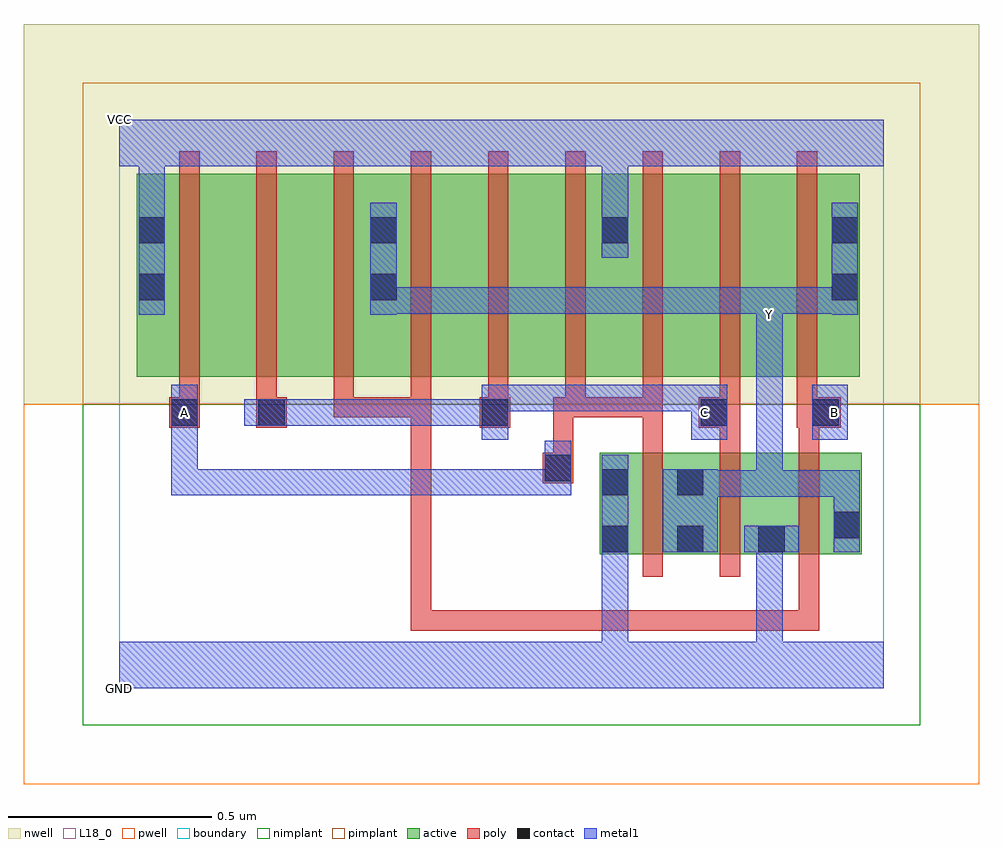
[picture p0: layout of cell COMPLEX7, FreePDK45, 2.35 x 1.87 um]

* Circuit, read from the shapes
.subckt COMPLEX7 A B C GND VCC Y
M1 Y A GND VSUBS nfet w=0.25u l=0.05u
M2 GND C Y VSUBS nfet w=0.25u l=0.05u
M3 Y B GND VSUBS nfet w=0.25u l=0.05u
M4 n1 A VCC n2 pfet w=0.5u l=0.05u
M5 n3 C n1 n2 pfet w=0.5u l=0.05u
M6 Y B n3 n2 pfet w=0.5u l=0.05u
M7 n4 B Y n2 pfet w=0.5u l=0.05u
M8 n5 C n4 n2 pfet w=0.5u l=0.05u
M9 VCC A n5 n2 pfet w=0.5u l=0.05u
M10 n6 A VCC n2 pfet w=0.5u l=0.05u
M11 n7 C n6 n2 pfet w=0.5u l=0.05u
M12 Y B n7 n2 pfet w=0.5u l=0.05u
.ends

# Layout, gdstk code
import gdstk
lib = gdstk.Library(unit=1e-6, precision=1e-09)
def R(c, l, rs):  # rectangles x0, y0, x1, y1
    for r in rs: c.add(gdstk.rectangle(r[:2], r[2:], *l))
def A(c, l, x, y, w, h, nx, ny, dx, dy):  # array of equal rectangles
    R(c, l, [(x+i*dx, y+j*dy, x+i*dx+w, y+j*dy+h) for i in range(nx) for j in range(ny)])
active = (1, 0)
pwell = (2, 0)
nwell = (3, 0)
nimplant = (4, 0)
pimplant = (5, 0)
poly = (9, 0)
contact = (10, 0)
metal1 = (11, 0)
L18_0 = (18, 0)
boundary = (235, 0)

complex7 = lib.new_cell('COMPLEX7')
A(complex7, active, 0.042, 0.767, 0.225, 0.5, 3, 1, 0.57, 0)
A(complex7, active, 0.267, 0.767, 0.19, 0.5, 3, 1, 0.57, 0)
R(complex7, active, [(1.182,0.33,1.257,0.58), (1.182,0.33,1.442,0.58), (1.367,0.33,1.642,0.58), (1.367,0.33,1.442,0.545), (1.567,0.33,1.827,0.58), (1.567,0.33,1.642,0.462), (1.752,0.33,1.827,0.58), (0.042,0.767,0.117,1.255), (0.457,0.767,0.687,1.267), (0.612,0.767,0.687,1.2), (1.027,0.767,1.257,1.267), (1.182,0.767,1.257,1.255), (1.597,0.767,1.822,1.267), (1.747,0.767,1.822,1.2)])
R(complex7, pwell, [(-0.235,-0.235,2.115,0.7)])
R(complex7, nwell, [(-0.235,0.7,2.115,1.635)])
R(complex7, nimplant, [(-0.09,-0.09,1.97,0.7)])
R(complex7, pimplant, [(-0.09,0.7,1.97,1.49)])
A(complex7, poly, 0.147, 0.667, 0.05, 0.095, 9, 1, 0.19, 0)
A(complex7, poly, 0.147, 0.712, 0.05, 0.61, 9, 1, 0.19, 0)
R(complex7, poly, [(0.717,0.142,0.767,0.192), (0.717,0.142,0.767,0.192), (0.717,0.142,0.767,0.192), (0.717,0.142,0.9,0.192), (0.717,0.142,0.767,0.717), (0.85,0.142,0.9,0.192), (0.85,0.142,0.9,0.192), (0.85,0.142,0.9,0.192), (0.85,0.142,1.205,0.192), (1.155,0.142,1.205,0.192), (1.155,0.142,1.205,0.192), (1.155,0.142,1.205,0.192), (1.155,0.142,1.337,0.192), (1.287,0.142,1.337,0.192), (1.287,0.142,1.337,0.192), (1.287,0.142,1.337,0.192), (1.287,0.142,1.47,0.192), (1.42,0.142,1.47,0.192), (1.42,0.142,1.47,0.192), (1.42,0.142,1.47,0.192), (1.42,0.142,1.722,0.192), (1.672,0.142,1.722,0.325), (1.672,0.142,1.722,0.192), (1.672,0.142,1.722,0.192), (1.672,0.142,1.722,0.192), (1.287,0.275,1.337,0.635), (1.477,0.275,1.527,0.635), (1.672,0.275,1.722,0.635), (1.042,0.505,1.117,0.58), (1.067,0.53,1.117,0.717), (1.287,0.585,1.337,0.717), (1.477,0.585,1.527,0.692), (1.672,0.585,1.722,0.692), (0.122,0.642,0.197,0.717), (0.337,0.642,0.412,0.717), (0.887,0.642,0.962,0.717), (1.425,0.642,1.527,0.717), (1.667,0.642,1.775,0.717), (0.527,0.667,0.577,0.717), (0.527,0.667,0.767,0.717), (0.717,0.667,0.767,0.717), (0.717,0.667,0.767,0.717), (0.717,0.667,0.767,0.717), (0.717,0.667,0.767,0.717), (0.717,0.667,0.767,0.717), (1.067,0.667,1.132,0.717), (1.082,0.667,1.132,0.717), (1.082,0.667,1.147,0.717), (1.097,0.667,1.337,0.717), (1.287,0.667,1.337,0.717), (1.287,0.667,1.337,0.717), (1.287,0.667,1.337,0.717)])
A(complex7, contact, 0.047, 1.095, 0.065, 0.065, 3, 1, 0.57, 0)
R(complex7, contact, [(1.187,0.335,1.252,0.4), (1.372,0.335,1.437,0.4), (1.572,0.335,1.637,0.4), (1.757,0.37,1.822,0.435), (1.187,0.475,1.252,0.54), (1.372,0.475,1.437,0.54), (1.047,0.51,1.112,0.575), (0.127,0.647,0.192,0.712), (0.342,0.647,0.407,0.712), (0.892,0.647,0.957,0.712), (1.43,0.647,1.495,0.712), (1.705,0.647,1.77,0.712), (0.047,0.955,0.112,1.02), (0.617,0.955,0.682,1.02), (1.752,0.955,1.817,1.02), (1.752,1.095,1.817,1.16)])
R(complex7, metal1, [(0,0,1.88,0.115), (1.187,0.05,1.252,0.115), (1.187,0.05,1.252,0.115), (1.187,0.05,1.252,0.115), (1.187,0.05,1.252,0.115), (1.187,0.05,1.252,0.115), (1.187,0.05,1.252,0.115), (1.187,0.05,1.252,0.365), (1.567,0.05,1.632,0.4), (1.187,0.3,1.252,0.575), (1.337,0.335,1.472,0.54), (1.537,0.335,1.672,0.4), (1.567,0.335,1.632,0.4), (1.567,0.335,1.632,0.4), (1.567,0.335,1.632,0.4), (1.567,0.335,1.632,0.4), (1.567,0.335,1.632,0.4), (1.567,0.335,1.632,0.4), (1.757,0.335,1.822,0.47), (1.757,0.405,1.822,0.47), (1.757,0.405,1.822,0.537), (1.407,0.472,1.632,0.537), (1.567,0.472,1.632,0.537), (1.567,0.472,1.632,0.537), (1.567,0.472,1.632,0.537), (1.567,0.472,1.822,0.537), (1.567,0.472,1.632,0.917), (0.127,0.475,0.192,0.54), (0.127,0.475,0.33,0.54), (0.127,0.475,0.192,0.677), (0.265,0.475,0.33,0.54), (0.265,0.475,0.33,0.54), (0.265,0.475,0.33,0.54), (0.265,0.475,0.682,0.54), (0.617,0.475,0.682,0.54), (0.617,0.475,0.682,0.54), (0.617,0.475,0.682,0.54), (0.617,0.475,0.82,0.54), (0.755,0.475,0.82,0.54), (0.755,0.475,0.82,0.54), (0.755,0.475,0.82,0.54), (0.755,0.475,0.957,0.54), (0.892,0.475,0.957,0.54), (0.892,0.475,1.112,0.54), (1.047,0.475,1.112,0.54), (1.047,0.475,1.112,0.54), (1.047,0.475,1.112,0.54), (1.047,0.475,1.112,0.54), (1.047,0.475,1.112,0.61), (0.127,0.612,0.192,0.677), (0.127,0.612,0.192,0.677), (0.127,0.612,0.192,0.747), (0.892,0.612,0.957,0.747), (1.407,0.612,1.495,0.747), (1.705,0.612,1.792,0.747), (0.307,0.647,0.442,0.712), (0.377,0.647,0.442,0.712), (0.377,0.647,0.442,0.712), (0.377,0.647,0.682,0.712), (0.617,0.647,0.682,0.712), (0.617,0.647,0.682,0.712), (0.617,0.647,0.682,0.712), (0.617,0.647,0.82,0.712), (0.755,0.647,0.82,0.712), (0.755,0.647,0.82,0.712), (0.755,0.647,0.82,0.712), (0.755,0.647,0.957,0.712), (0.892,0.682,0.957,0.747), (0.892,0.682,0.957,0.747), (0.892,0.682,1.142,0.747), (1.077,0.682,1.142,0.747), (1.077,0.682,1.25,0.747), (1.185,0.682,1.25,0.747), (1.185,0.682,1.28,0.747), (1.215,0.682,1.28,0.747), (1.215,0.682,1.465,0.747), (1.4,0.682,1.465,0.747), (1.4,0.682,1.472,0.747), (1.567,0.852,1.632,0.987), (0.047,0.92,0.112,1.195), (0.617,0.92,0.682,1.195), (1.752,0.92,1.817,1.195), (0.617,0.922,0.82,0.987), (0.755,0.922,0.82,0.987), (0.755,0.922,0.82,0.987), (0.755,0.922,0.82,0.987), (0.755,0.922,0.957,0.987), (0.892,0.922,0.957,0.987), (0.892,0.922,0.957,0.987), (0.892,0.922,0.957,0.987), (0.892,0.922,1.142,0.987), (1.077,0.922,1.142,0.987), (1.077,0.922,1.25,0.987), (1.185,0.922,1.25,0.987), (1.185,0.922,1.335,0.987), (1.27,0.922,1.335,0.987), (1.27,0.922,1.387,0.987), (1.322,0.922,1.387,0.987), (1.322,0.922,1.632,0.987), (1.567,0.922,1.632,0.987), (1.567,0.922,1.632,0.987), (1.567,0.922,1.632,0.987), (1.567,0.922,1.632,0.987), (1.567,0.922,1.817,0.987), (1.752,0.922,1.817,0.987), (1.752,0.922,1.817,0.987), (1.187,1.06,1.252,1.195), (0.047,1.13,0.112,1.35), (1.187,1.13,1.252,1.35), (0,1.285,1.88,1.4)])
R(complex7, L18_0, [(0,0,1.88,0.115), (1.187,0.05,1.252,0.115), (1.187,0.05,1.252,0.115), (1.187,0.05,1.252,0.115), (1.187,0.05,1.252,0.115), (1.187,0.05,1.252,0.115), (1.187,0.05,1.252,0.115), (1.187,0.05,1.252,0.365), (1.567,0.05,1.632,0.4), (1.187,0.3,1.252,0.575), (1.337,0.335,1.472,0.54), (1.537,0.335,1.672,0.4), (1.567,0.335,1.632,0.4), (1.567,0.335,1.632,0.4), (1.567,0.335,1.632,0.4), (1.567,0.335,1.632,0.4), (1.567,0.335,1.632,0.4), (1.567,0.335,1.632,0.4), (1.757,0.335,1.822,0.47), (1.757,0.405,1.822,0.47), (1.757,0.405,1.822,0.537), (1.407,0.472,1.632,0.537), (1.567,0.472,1.632,0.537), (1.567,0.472,1.632,0.537), (1.567,0.472,1.632,0.537), (1.567,0.472,1.632,0.917), (1.567,0.472,1.822,0.537), (0.127,0.475,0.192,0.54), (0.127,0.475,0.192,0.677), (0.127,0.475,0.33,0.54), (0.265,0.475,0.33,0.54), (0.265,0.475,0.33,0.54), (0.265,0.475,0.33,0.54), (0.265,0.475,0.682,0.54), (0.617,0.475,0.682,0.54), (0.617,0.475,0.682,0.54), (0.617,0.475,0.682,0.54), (0.617,0.475,0.82,0.54), (0.755,0.475,0.82,0.54), (0.755,0.475,0.82,0.54), (0.755,0.475,0.82,0.54), (0.755,0.475,0.957,0.54), (0.892,0.475,0.957,0.54), (0.892,0.475,1.112,0.54), (1.047,0.475,1.112,0.61), (1.047,0.475,1.112,0.54), (1.047,0.475,1.112,0.54), (1.047,0.475,1.112,0.54), (1.047,0.475,1.112,0.54), (0.127,0.612,0.192,0.747), (0.127,0.612,0.192,0.677), (0.127,0.612,0.192,0.677), (0.892,0.612,0.957,0.747), (1.407,0.612,1.495,0.747), (1.705,0.612,1.792,0.747), (0.127,0.647,0.192,0.712), (0.307,0.647,0.442,0.712), (0.377,0.647,0.442,0.712), (0.377,0.647,0.442,0.712), (0.377,0.647,0.682,0.712), (0.617,0.647,0.682,0.712), (0.617,0.647,0.682,0.712), (0.617,0.647,0.682,0.712), (0.617,0.647,0.82,0.712), (0.755,0.647,0.82,0.712), (0.755,0.647,0.82,0.712), (0.755,0.647,0.82,0.712), (0.755,0.647,0.957,0.712), (1.407,0.647,1.472,0.712), (1.727,0.647,1.792,0.712), (0.892,0.682,0.957,0.747), (0.892,0.682,0.957,0.747), (0.892,0.682,1.142,0.747), (1.077,0.682,1.142,0.747), (1.077,0.682,1.25,0.747), (1.185,0.682,1.25,0.747), (1.185,0.682,1.28,0.747), (1.215,0.682,1.28,0.747), (1.215,0.682,1.465,0.747), (1.4,0.682,1.465,0.747), (1.4,0.682,1.472,0.747), (1.567,0.852,1.632,0.987), (1.567,0.887,1.632,0.952), (0.047,0.92,0.112,1.195), (0.617,0.92,0.682,1.195), (1.752,0.92,1.817,1.195), (0.617,0.922,0.82,0.987), (0.755,0.922,0.82,0.987), (0.755,0.922,0.82,0.987), (0.755,0.922,0.82,0.987), (0.755,0.922,0.957,0.987), (0.892,0.922,0.957,0.987), (0.892,0.922,0.957,0.987), (0.892,0.922,0.957,0.987), (0.892,0.922,1.142,0.987), (1.077,0.922,1.142,0.987), (1.077,0.922,1.25,0.987), (1.185,0.922,1.25,0.987), (1.185,0.922,1.335,0.987), (1.27,0.922,1.335,0.987), (1.27,0.922,1.387,0.987), (1.322,0.922,1.387,0.987), (1.322,0.922,1.632,0.987), (1.567,0.922,1.632,0.987), (1.567,0.922,1.632,0.987), (1.567,0.922,1.632,0.987), (1.567,0.922,1.632,0.987), (1.567,0.922,1.817,0.987), (1.752,0.922,1.817,0.987), (1.752,0.922,1.817,0.987), (1.187,1.06,1.252,1.195), (0.047,1.13,0.112,1.35), (1.187,1.13,1.252,1.35), (0,1.285,1.88,1.4)])
R(complex7, boundary, [(0,0,1.88,1.4)])
complex7.add(gdstk.Label('A', (0.16,0.68), layer=11, texttype=0))
complex7.add(gdstk.Label('B', (1.76,0.68), layer=11, texttype=0))
complex7.add(gdstk.Label('C', (1.44,0.68), layer=11, texttype=0))
complex7.add(gdstk.Label('Y', (1.6,0.92), layer=11, texttype=0))
complex7.add(gdstk.Label('VCC', (0,1.4), layer=11, texttype=0))
complex7.add(gdstk.Label('GND', (0,0), layer=11, texttype=0))

lib.write_gds('COMPLEX7.gds')
